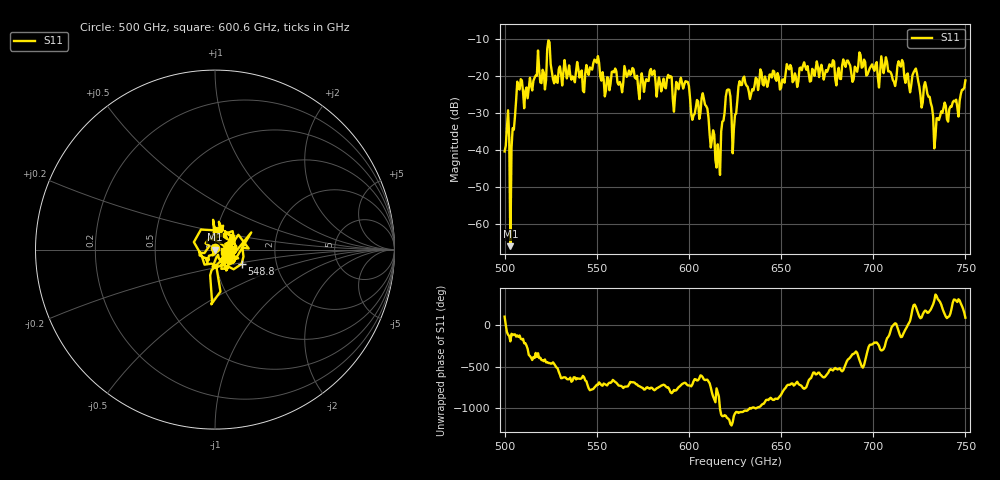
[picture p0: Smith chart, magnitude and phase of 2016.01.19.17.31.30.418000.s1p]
!Created with skrf (http://scikit-rf.org).
# GHz S RI R 50.0
!freq ReS11 ImS11
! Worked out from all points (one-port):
!   401 points, 500 GHz to 750 GHz, reference 50 ohm
!   lowest |S11| = -65.9 dB at 503.1 GHz (marker M1), VSWR 1.00, Z = 50 + j0.0105 ohm
!   |S11| at or under -10 dB: start of sweep to end of sweep
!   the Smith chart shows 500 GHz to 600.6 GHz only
!   S11 on the Smith chart (normalised r, x): 500 GHz: 0.99, +0.02; 548.8 GHz: 1.33, -0.22; 600.6 GHz: 1.10, -0.01
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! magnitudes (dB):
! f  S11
! 500 GHz  -40.3
! 501.2 GHz  -34.0
! 503.1 GHz  -65.9
! 504.4 GHz  -34.0
! 505.6 GHz  -30.8
! 508.1 GHz  -23.6
! 521.2 GHz  -18.9
! 524.4 GHz  -10.8
! 527.5 GHz  -19.8
! 531.2 GHz  -22.5
! 548.8 GHz  -15.5
! 562.5 GHz  -21.5
! 580 GHz  -19.6
! 593.8 GHz  -22.2
! 600.6 GHz  -26.0
! 608.8 GHz  -27.6
! 615.6 GHz  -38.4
! 621.2 GHz  -23.5
! 625 GHz  -30.4
! 628.8 GHz  -22.3
! 656.2 GHz  -21.6
! 687.5 GHz  -17.1
! 711.2 GHz  -21.5
! 715 GHz  -17.4
! 718.8 GHz  -19.2
! 728.8 GHz  -22.9
! 734.4 GHz  -31.3
! 750 GHz  -21.1
